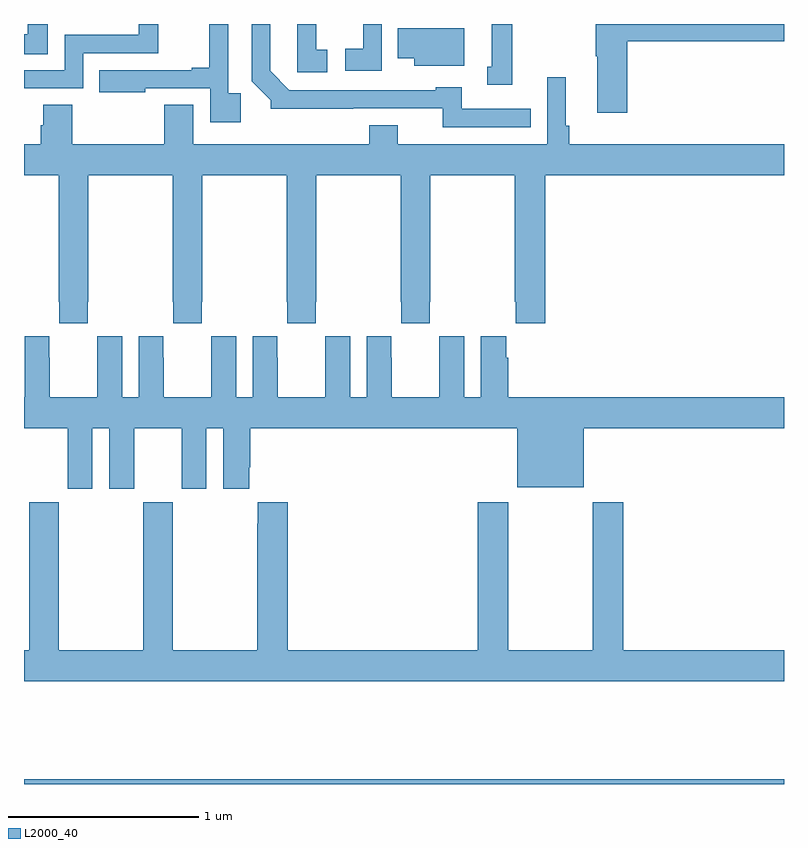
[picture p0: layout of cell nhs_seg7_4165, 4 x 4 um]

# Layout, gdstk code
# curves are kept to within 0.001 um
import gdstk
lib = gdstk.Library(unit=1e-6, precision=1e-09)
def R(c, l, rs):  # rectangles x0, y0, x1, y1
    for r in rs: c.add(gdstk.rectangle(r[:2], r[2:], *l))
def P(c, l, *ps):  # polygons
    for p in ps: c.add(gdstk.Polygon(p, *l))
L2000_40 = (2000, 40)

nhs_seg7_4165 = lib.new_cell('nhs_seg7_4165')
R(nhs_seg7_4165, L2000_40, [(373,1076,377,1076.024)])
P(nhs_seg7_4165, L2000_40, [(373.311,1079.847),(373.706,1079.847),(373.706,1080),(373.605,1080),(373.605,1079.943),(373.215,1079.943),(373.215,1079.757),(373,1079.757),(373,1079.661),(373.311,1079.661)],
  [(376.175,1079.908),(377,1079.908),(377,1080),(376.009,1080),(376.009,1079.831),(376.016,1079.831),(376.016,1079.532),(376.175,1079.532)],
  [(374.883,1080),(374.785,1080),(374.785,1079.87),(374.691,1079.87),(374.691,1079.754),(374.883,1079.754)],
  [(375.571,1080),(375.461,1080),(375.461,1079.775),(375.437,1079.775),(375.437,1079.681),(375.571,1079.681)],
  [(373.126,1080),(373.019,1080),(373.019,1079.946),(373,1079.946),(373,1079.842),(373.126,1079.842)],
  [(374.141,1079.635),(374.076,1079.635),(374.076,1080),(373.975,1080),(373.975,1079.77),(373.883,1079.77),(373.883,1079.757),(373.396,1079.757),(373.396,1079.642),(373.639,1079.642),(373.639,1079.661),(373.98,1079.661),(373.98,1079.484),(374.141,1079.484)],
  [(375.668,1079.553),(375.304,1079.553),(375.304,1079.668),(375.168,1079.668),(375.168,1079.652),(374.397,1079.652),(374.296,1079.753),(374.296,1080),(374.199,1080),(374.199,1079.698),(374.298,1079.599),(374.298,1079.555),(375.205,1079.556),(375.205,1079.457),(375.668,1079.457)],
  [(374.596,1079.865),(374.538,1079.865),(374.538,1080),(374.438,1080),(374.438,1079.745),(374.596,1079.745)],
  [(375.316,1079.977),(374.968,1079.977),(374.968,1079.819),(375.053,1079.819),(375.053,1079.78),(375.316,1079.78)],
  [(373.335,1078.537),(373.338,1078.537),(373.338,1079.204),(373.783,1079.204),(373.783,1078.537),(373.785,1078.537),(373.785,1078.425),(373.935,1078.425),(373.935,1078.537),(373.938,1078.537),(373.938,1079.204),(374.383,1079.204),(374.383,1078.537),(374.385,1078.537),(374.385,1078.425),(374.535,1078.425),(374.535,1078.537),(374.538,1078.537),(374.538,1079.204),(374.983,1079.204),(374.983,1078.537),(374.985,1078.537),(374.985,1078.425),(375.135,1078.425),(375.135,1078.537),(375.138,1078.537),(375.138,1079.204),(375.583,1079.204),(375.583,1078.537),(375.589,1078.537),(375.589,1078.425),(375.743,1078.425),(375.743,1079.204),(377,1079.204),(377,1079.368),(375.869,1079.368),(375.869,1079.464),(375.85,1079.464),(375.85,1079.719),(375.753,1079.719),(375.753,1079.368),(374.968,1079.368),(374.968,1079.467),(374.816,1079.467),(374.816,1079.368),(373.891,1079.368),(373.891,1079.576),(373.739,1079.576),(373.739,1079.368),(373.253,1079.368),(373.253,1079.576),(373.1,1079.576),(373.1,1079.466),(373.088,1079.466),(373.088,1079.368),(373,1079.368),(373,1079.204),(373.183,1079.204),(373.183,1078.537),(373.185,1078.537),(373.185,1078.425),(373.335,1078.425)],
  [(373.36,1077.872),(373.448,1077.872),(373.448,1077.555),(373.579,1077.555),(373.579,1077.872),(373.829,1077.872),(373.829,1077.555),(373.96,1077.555),(373.96,1077.872),(374.048,1077.872),(374.048,1077.555),(374.185,1077.555),(374.185,1077.667),(374.192,1077.667),(374.192,1077.872),(375.596,1077.872),(375.596,1077.563),(375.946,1077.563),(375.946,1077.872),(377,1077.872),(377,1078.036),(375.548,1078.036),(375.548,1078.244),(375.538,1078.244),(375.538,1078.357),(375.404,1078.357),(375.404,1078.036),(375.316,1078.036),(375.316,1078.357),(375.186,1078.357),(375.186,1078.244),(375.185,1078.244),(375.185,1078.036),(374.935,1078.036),(374.935,1078.244),(374.934,1078.244),(374.934,1078.357),(374.804,1078.357),(374.804,1078.036),(374.716,1078.036),(374.716,1078.357),(374.586,1078.357),(374.586,1078.244),(374.585,1078.244),(374.585,1078.036),(374.335,1078.036),(374.335,1078.244),(374.334,1078.244),(374.334,1078.357),(374.204,1078.357),(374.204,1078.036),(374.116,1078.036),(374.116,1078.357),(373.986,1078.357),(373.986,1078.244),(373.985,1078.244),(373.985,1078.036),(373.735,1078.036),(373.735,1078.244),(373.734,1078.244),(373.734,1078.357),(373.604,1078.357),(373.604,1078.036),(373.516,1078.036),(373.516,1078.357),(373.386,1078.357),(373.386,1078.244),(373.385,1078.244),(373.385,1078.036),(373.135,1078.036),(373.135,1078.244),(373.134,1078.244),(373.134,1078.357),(373.004,1078.357),(373.004,1078.036),(373,1078.036),(373,1077.872),(373.229,1077.872),(373.229,1077.555),(373.36,1077.555)],
  [(377,1076.704),(376.154,1076.704),(376.154,1077.484),(375.994,1077.484),(375.994,1076.704),(375.549,1076.704),(375.549,1077.484),(375.389,1077.484),(375.389,1076.704),(374.387,1076.704),(374.387,1077.484),(374.231,1077.484),(374.231,1077.371),(374.227,1077.371),(374.227,1076.704),(373.782,1076.704),(373.782,1077.484),(373.627,1077.484),(373.627,1076.704),(373.182,1076.704),(373.182,1077.484),(373.027,1077.484),(373.027,1076.704),(373,1076.704),(373,1076.54),(377,1076.54)])

lib.write_gds('nhs_seg7_4165.gds')
